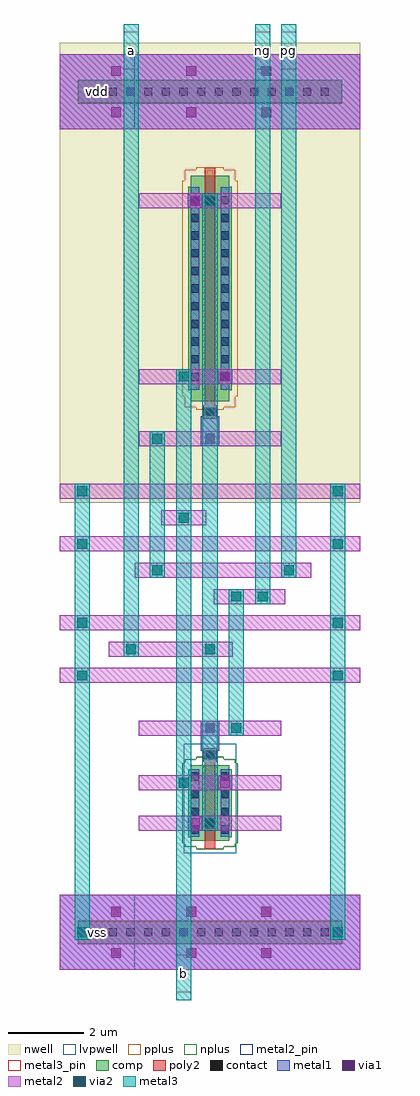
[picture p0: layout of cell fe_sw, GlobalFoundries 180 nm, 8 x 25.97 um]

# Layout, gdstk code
import gdstk
lib = gdstk.Library(unit=1e-6, precision=1e-09)
def R(c, l, rs):  # rectangles x0, y0, x1, y1
    for r in rs: c.add(gdstk.rectangle(r[:2], r[2:], *l))
def A(c, l, x, y, w, h, nx, ny, dx, dy):  # array of equal rectangles
    R(c, l, [(x+i*dx, y+j*dy, x+i*dx+w, y+j*dy+h) for i in range(nx) for j in range(ny)])
nwell = (21, 0)
comp = (22, 0)
poly2 = (30, 0)
pplus = (31, 0)
nplus = (32, 0)
contact = (33, 0)
metal1 = (34, 0)
via1 = (35, 0)
metal2 = (36, 0)
metal2_pin = (36, 10)
via2 = (38, 0)
metal3 = (42, 0)
metal3_pin = (42, 10)
lvpwell = (204, 0)

nfet_03v3_psnr9f = lib.new_cell('nfet_03v3_PSNR9F')
R(nfet_03v3_psnr9f, comp, [(-0.515,-1.12,0.515,-1.025), (-0.58,-1.025,0.58,0.785), (-0.515,0.785,0.515,0.88)])
R(nfet_03v3_psnr9f, poly2, [(-0.14,-1.34,0.14,0.98), (-0.18,0.98,0.18,1.34)])
R(nfet_03v3_psnr9f, nplus, [(-0.37,-1.35,0.37,-1.28), (-0.675,-1.28,0.675,-1.185), (-0.74,-1.185,0.74,0.945), (-0.675,0.945,0.675,1.04), (-0.37,1.04,0.37,1.11)])
A(nfet_03v3_psnr9f, contact, -0.51, -0.935, 0.22, 0.22, 1, 4, 0, 0.47)
A(nfet_03v3_psnr9f, contact, 0.29, -0.935, 0.22, 0.22, 1, 4, 0, 0.47)
R(nfet_03v3_psnr9f, contact, [(-0.11,1.05,0.11,1.27)])
R(nfet_03v3_psnr9f, metal1, [(-0.515,-1.015,-0.285,0.775), (0.285,-1.015,0.515,0.775), (-0.17,1.045,0.17,1.275)])
R(nfet_03v3_psnr9f, lvpwell, [(-0.7,-1.46,0.7,1.46)])

pfet_03v3_grpkvp = lib.new_cell('pfet_03v3_GRPKVP')
R(pfet_03v3_grpkvp, nwell, [(-1.01,-3.77,1.01,3.77)])
R(pfet_03v3_grpkvp, comp, [(-0.515,-3.12,0.515,-2.825), (-0.58,-2.825,0.58,2.585), (-0.515,2.585,0.515,2.88)])
R(pfet_03v3_grpkvp, poly2, [(-0.14,-3.34,0.14,2.98), (-0.18,2.98,0.18,3.34)])
R(pfet_03v3_grpkvp, pplus, [(-0.37,-3.35,0.37,-3.28), (-0.675,-3.28,0.675,-2.985), (-0.74,-2.985,0.74,2.745), (-0.675,2.745,0.675,3.04), (-0.37,3.04,0.37,3.11)])
A(pfet_03v3_grpkvp, contact, -0.51, -2.58, 0.22, 0.22, 1, 11, 0, 0.47)
A(pfet_03v3_grpkvp, contact, 0.29, -2.58, 0.22, 0.22, 1, 11, 0, 0.47)
R(pfet_03v3_grpkvp, contact, [(-0.11,3.05,0.11,3.27)])
R(pfet_03v3_grpkvp, metal1, [(-0.515,-2.815,-0.285,2.575), (0.285,-2.815,0.515,2.575), (-0.17,3.045,0.17,3.275)])

fe_sw = lib.new_cell('fe_sw')
R(fe_sw, nwell, [(-4,11.435,4,23.67)])
R(fe_sw, comp, [(-3.5,-0.3,3.5,0.3), (-3.5,22.07,3.5,22.67)])
R(fe_sw, pplus, [(-3.52,-0.32,3.52,0.32)])
R(fe_sw, nplus, [(-3.52,22.05,3.52,22.69)])
A(fe_sw, contact, -3.165, -0.11, 0.22, 0.22, 14, 2, 0.47, 22.37)
R(fe_sw, metal1, [(-4,-1,4,1), (-0.59,2.71,-0.21,3.09), (0.21,3.79,0.59,4.17), (-0.115,4.605,0.115,4.835), (-0.24,4.835,0.24,5.625), (-0.24,12.945,0.24,13.735), (-0.115,13.735,0.115,13.965), (0.21,14.6,0.59,14.98), (-0.59,19.28,-0.21,19.66), (-4,21.37,4,23.37)])
A(fe_sw, via1, -2.63, -0.68, 0.26, 0.26, 3, 2, 2, 1.1)
A(fe_sw, via1, -2.63, 21.69, 0.26, 0.26, 3, 2, 2, 1.1)
R(fe_sw, via1, [(-0.53,2.77,-0.27,3.03), (0.27,3.85,0.53,4.11), (-0.13,5.305,0.13,5.565), (-0.13,13.005,0.13,13.265), (0.27,14.66,0.53,14.92), (-0.53,19.34,-0.27,19.6)])
R(fe_sw, metal2, [(-4,-1,4,1), (-1.9,2.7,1.9,3.1), (-1.9,3.78,1.9,4.18), (-1.9,5.235,1.9,5.635), (-4,6.635,4,7.035), (-2.7,7.335,0.6,7.735), (-4,8.035,4,8.435), (0.1,8.735,2,9.135), (-2,9.435,2.7,9.835), (-4,10.135,4,10.535), (-1.3,10.835,-0.1,11.235), (-4,11.535,4,11.935), (-1.9,12.935,1.9,13.335), (-1.9,14.59,1.9,14.99), (-1.9,19.27,1.9,19.67), (-4,21.37,4,23.37)])
R(fe_sw, metal2_pin, [(-4,-1,-2,1), (-4,21.37,-2,23.37)])
R(fe_sw, via2, [(-3.53,-0.13,-3.27,0.13), (3.27,-0.13,3.53,0.13), (-0.13,2.77,0.13,3.03), (-0.83,3.85,-0.57,4.11), (0.57,5.305,0.83,5.565), (-3.53,6.705,-3.27,6.965), (3.27,6.705,3.53,6.965), (-2.23,7.405,-1.97,7.665), (-0.13,7.405,0.13,7.665), (-3.53,8.105,-3.27,8.365), (3.27,8.105,3.53,8.365), (0.57,8.805,0.83,9.065), (1.27,8.805,1.53,9.065), (-1.53,9.505,-1.27,9.765), (1.97,9.505,2.23,9.765), (-3.53,10.205,-3.27,10.465), (3.27,10.205,3.53,10.465), (-0.83,10.905,-0.57,11.165), (-3.53,11.605,-3.27,11.865), (3.27,11.605,3.53,11.865), (-1.53,13.005,-1.27,13.265), (-0.83,14.66,-0.57,14.92), (-0.13,19.34,0.13,19.6)])
R(fe_sw, metal3, [(-0.9,-1.8,-0.5,14.99), (-3.6,-0.2,-3.2,11.935), (3.2,-0.2,3.6,11.935), (-0.2,2.7,0.2,19.67), (0.5,5.235,0.9,9.135), (-2.3,7.335,-1.9,24.17), (1.2,8.735,1.6,24.17), (-1.6,9.435,-1.2,13.335), (1.9,9.435,2.3,24.17)])
R(fe_sw, metal3_pin, [(-0.9,-1.6,-0.5,-0.6), (-2.3,22.97,-1.9,23.97), (1.2,22.97,1.6,23.97), (1.9,22.97,2.3,23.97)])
fe_sw.add(gdstk.Reference(nfet_03v3_psnr9f, (0,3.56)))
fe_sw.add(gdstk.Reference(pfet_03v3_grpkvp, (0,17.01), x_reflection=True))
fe_sw.add(gdstk.Label('a', (-2.1,23.47), layer=42, texttype=10))
fe_sw.add(gdstk.Label('ng', (1.4,23.47), layer=42, texttype=10))
fe_sw.add(gdstk.Label('pg', (2.1,23.47), layer=42, texttype=10))
fe_sw.add(gdstk.Label('b', (-0.7,-1.1), layer=42, texttype=10))
fe_sw.add(gdstk.Label('vss', (-3,0), layer=36, texttype=10))
fe_sw.add(gdstk.Label('vdd', (-3,22.37), layer=36, texttype=10))

lib.write_gds('fe_sw.gds')
